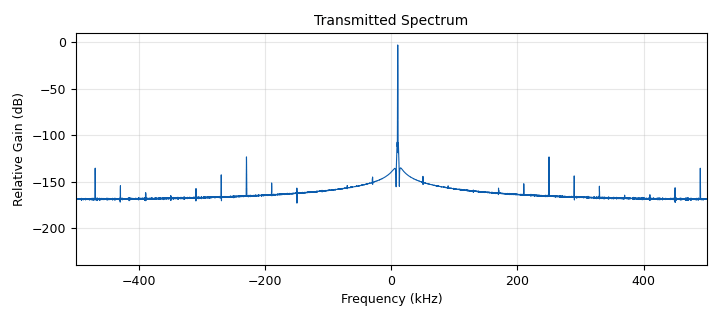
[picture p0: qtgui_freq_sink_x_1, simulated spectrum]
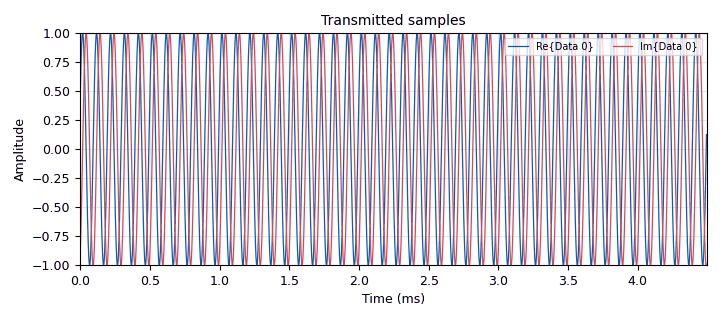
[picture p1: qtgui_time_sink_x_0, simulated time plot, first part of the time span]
options:
  parameters:
    generate_options: qt_gui
    id: sinewave_loopback_pluto
    output_language: python
    title: sinewave_loopback_pluto
  states: {}

blocks:
- name: buff_size
  id: variable
  parameters:
    value: int(32768)
  states: {}
- name: config_phy
  id: variable_config
  parameters:
    config_file: default
    option: key
    section: main
    type: string
    value: ad9361-phy
    writeback: None
  states: {}
- name: config_rx
  id: variable_config
  parameters:
    config_file: default
    option: key
    section: main
    type: string
    value: cf-ad9361-lpc
    writeback: None
  states: {}
- name: config_tx
  id: variable_config
  parameters:
    config_file: default
    option: key
    section: main
    type: string
    value: cf-ad9361-dds-core-lpc
    writeback: None
  states: {}
- name: interval_update
  id: variable
  parameters:
    value: int(0)
  states: {}
- name: lo_offset
  id: variable
  parameters:
    value: int(0)
  states: {}
- name: pluto_ip
  id: variable_config
  parameters:
    config_file: default
    option: key
    section: main
    type: string
    value: ip:192.168.2.1
    writeback: None
  states: {}
- name: rx_gain
  id: variable_qtgui_range
  parameters:
    label: Rx Gain
    start: '-3'
    step: '1'
    stop: '71'
    value: '10'
  states: {}
- name: rx_lo_freq
  id: variable
  parameters:
    value: '3200000000'
  states: {}
- name: samp_rate
  id: variable
  parameters:
    value: '1000000'
  states: {}
- name: sine_frequency
  id: variable_qtgui_range
  parameters:
    gui_hint: (0,0,1,2)
    label: Transmitted Sine Frequency [Hz]
    start: '-300000'
    step: '1'
    stop: '300000'
    value: '10000'
  states: {}
- name: tx_atten
  id: variable_qtgui_range
  parameters:
    label: Tx Attenuation
    start: '-89'
    step: '1'
    stop: '0'
    value: '-70'
  states: {}
- name: tx_lo_freq
  id: variable
  parameters:
    value: int(3200000000+ lo_offset)
  states: {}
- name: analog_sig_source_x_0
  id: analog_sig_source_x
  parameters:
    amp: '1'
    freq: sine_frequency
    offset: '0'
    phase: '0'
    samp_rate: samp_rate
    type: complex
    waveform: analog.GR_SIN_WAVE
  states: {}
- name: blocks_complex_to_imag_0_4_0
  id: blocks_complex_to_imag
  parameters: {}
  states: {}
- name: blocks_complex_to_real_0_4_0
  id: blocks_complex_to_real
  parameters: {}
  states: {}
- name: blocks_float_to_short_0_0_4_0
  id: blocks_float_to_short
  parameters:
    scale: '32767'
  states: {}
- name: blocks_float_to_short_0_5_0
  id: blocks_float_to_short
  parameters:
    scale: '32767'
  states: {}
- name: epy_block_0
  id: epy_block
  parameters:
    RX_LO: rx_lo_freq
    TX_LO: tx_lo_freq
    _source_code: |
      from gnuradio import gr
      import adi
      import time

      class pluto_init_block(gr.sync_block):
          def __init__(self,
                       uri="ip:pluto.local",
                       RX_LO=2450000000,
                       TX_LO=2450000000,
                       sample_rate=2500000,
                       rx_gain=-10,
                       tx_attenuation=-10):
              gr.sync_block.__init__(
                  self,
                  name="Pluto Init Block",
                  in_sig=None,
                  out_sig=None
              )

              # Store configuration
              self.uri = uri
              self.rx_lo = RX_LO
              self.tx_lo = TX_LO
              self.sample_rate = sample_rate
              self.rx_gain = rx_gain
              self.tx_attenuation = tx_attenuation

              # Initialize Pluto once the flowgraph starts
              self._initialized = False

          def start(self):
              self.log("Connecting to PlutoSDR...")
              self.sdr = adi.Pluto(self.uri)
              self.apply_settings()
              self.log("PlutoSDR initialized and configured.")
              self._initialized = True
              return super().start()

          def apply_settings(self):
              sdr = self.sdr

              # RX setup
              sdr.rx_lo = int(self.RX_LO)
              sdr.gain_control_mode_chan0 = 'manual'
              sdr.rx_sample_rate = int(self.sample_rate)
              sdr.rx_hardwaregain_chan0 = float(self.rx_gain)

              # TX setup
              sdr.tx_lo = int(self.TX_LO)
              sdr.tx_rf_bandwidth = int(self.tx_bw)
              sdr.tx_sample_rate = int(self.sample_rate)
              sdr.tx_hardwaregain_chan0 = float(self.tx_attenuation)

          def log(self, msg):
              print(f"[Pluto Init] {msg}")

          def work(self, input_items, output_items):
              # This block does not process samples
              return 0
    rx_gain: rx_gain
    sample_rate: samp_rate
    tx_attenuation: tx_atten
    uri: '''ip:pluto.local'''
  states: {}
- name: iio_attr_sink_0_0_0
  id: iio_attr_sink
  parameters:
    attr_type: '0'
    channel: voltage1
    device: config-phy
    output: 'True'
    uri: pluto_ip
  states: {state: disabled}
- name: iio_attr_sink_0_1
  id: iio_attr_sink
  parameters:
    attr_type: '0'
    channel: voltage0
    device: config_phy
    output: 'True'
    uri: pluto_ip
  states: {state: disabled}
- name: iio_attr_sink_0_1_0_0
  id: iio_attr_sink
  parameters:
    attr_type: '0'
    channel: altvoltage1
    device: config_phy
    output: 'True'
    uri: pluto_ip
  states: {state: disabled}
- name: iio_attr_updater_0_0_0
  id: iio_attr_updater
  parameters:
    attr: hardwaregain
    interval: interval_update
    value: str(-40)
  states: {state: disabled}
- name: iio_attr_updater_0_1
  id: iio_attr_updater
  parameters:
    attr: hardwaregain
    interval: interval_update
    value: str(tx_attenuation)
  states: {state: disabled}
- name: iio_attr_updater_0_1_0_0
  id: iio_attr_updater
  parameters:
    attr: frequency
    interval: interval_update
    value: str(tx_lo_freq)
  states: {state: disabled}
- name: iio_device_sink_0_1
  id: iio_device_sink
  parameters:
    buffer_size: buff_size
    channels: '[''voltage0'',''voltage1'']'
    cyclic: 'False'
    device: config_tx
    device_phy: config_phy
    interpolation: '1'
    params: '[]'
    uri: pluto_ip
  states: {}
- name: iio_pluto_source_0
  id: iio_pluto_source
  parameters:
    bandwidth: samp_rate*5
    bbdc: 'True'
    buffer_size: buff_size
    filter_source: '''Auto'''
    frequency: rx_lo_freq
    gain1: '''manual'''
    manual_gain1: rx_gain
    quadrature: 'True'
    rfdc: 'True'
    samplerate: samp_rate
    type: fc32
    uri: pluto_ip
  states: {}
- name: qtgui_const_sink_x_0
  id: qtgui_const_sink_x
  parameters:
    gui_hint: (3,0,1,2)
    name: '"Received constellation"'
    size: '1024'
    type: complex
    update_time: '0.50'
  states: {}
- name: qtgui_freq_sink_x_0
  id: qtgui_freq_sink_x
  parameters:
    bw: samp_rate
    fc: '0'
    fftsize: '32768'
    gui_hint: (2,1,1,1)
    name: '"Received spectrum"'
    norm_window: 'True'
    tr_level: '-60'
    type: complex
    wintype: window.WIN_FLATTOP
  states: {}
- name: qtgui_freq_sink_x_1
  id: qtgui_freq_sink_x
  parameters:
    bw: samp_rate
    fc: '0'
    fftsize: '8192'
    gui_hint: (2,0,1,1)
    name: Transmitted Spectrum
    norm_window: 'True'
    tr_level: '-15'
    tr_mode: qtgui.TRIG_MODE_NORM
    type: complex
    ymin: '-240'
  states: {}
- name: qtgui_time_sink_x_0
  id: qtgui_time_sink_x
  parameters:
    gui_hint: (1,0,1,1)
    name: '"Transmitted samples"'
    size: 1024*8
    srate: samp_rate
    tr_level: '0.5'
    tr_mode: qtgui.TRIG_MODE_NORM
    type: complex
  states: {}
- name: qtgui_time_sink_x_1
  id: qtgui_time_sink_x
  parameters:
    gui_hint: (1,1,1,1)
    name: '"Received Samples"'
    size: 1024*8
    srate: samp_rate
    tr_level: '0.4'
    type: complex
  states: {}

connections:
- [analog_sig_source_x_0, '0', blocks_complex_to_imag_0_4_0, '0']
- [analog_sig_source_x_0, '0', blocks_complex_to_real_0_4_0, '0']
- [analog_sig_source_x_0, '0', qtgui_freq_sink_x_1, '0']
- [analog_sig_source_x_0, '0', qtgui_time_sink_x_0, '0']
- [blocks_complex_to_imag_0_4_0, '0', blocks_float_to_short_0_0_4_0, '0']
- [blocks_complex_to_real_0_4_0, '0', blocks_float_to_short_0_5_0, '0']
- [blocks_float_to_short_0_0_4_0, '0', iio_device_sink_0_1, '1']
- [blocks_float_to_short_0_5_0, '0', iio_device_sink_0_1, '0']
- [iio_attr_updater_0_0_0, out, iio_attr_sink_0_0_0, attr]
- [iio_attr_updater_0_1, out, iio_attr_sink_0_1, attr]
- [iio_attr_updater_0_1_0_0, out, iio_attr_sink_0_1_0_0, attr]
- [iio_pluto_source_0, '0', qtgui_const_sink_x_0, '0']
- [iio_pluto_source_0, '0', qtgui_freq_sink_x_0, '0']
- [iio_pluto_source_0, '0', qtgui_time_sink_x_1, '0']

metadata:
  file_format: 1
  grc_version: 3.10.11.0
